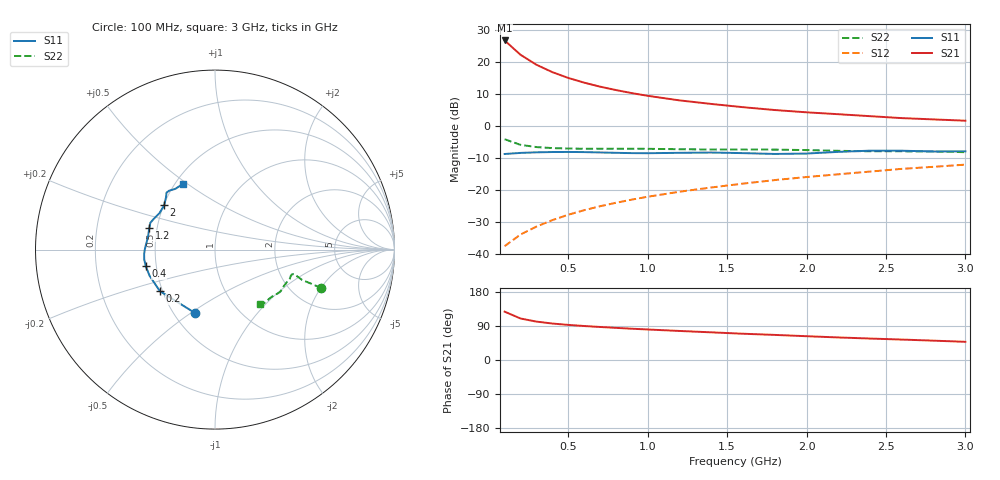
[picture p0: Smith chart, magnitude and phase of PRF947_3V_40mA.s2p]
! Filename:  PRF947i.S2P  Version:  3.0
! Philips part #:  PRF947  Date:  Nov 1998
! Bias condition:  Vce=3V, Ic=40mA
#  MHz  S  MA  R 50
! Freq  S11  S21  S12  S22  :
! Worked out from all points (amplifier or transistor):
!   20 points, 100 MHz to 3 GHz, reference 50 ohm
!   highest |S21| = 26.8 dB at 100 MHz (marker M1)
!   |S21| within 3 dB of that: start of sweep to 167.1 MHz
!   unconditionally stable (mu >= 1): 151.7 MHz to end of sweep
!   at 400 MHz: K = 1.32, MAG = 19.7 dB, |S12| = -29.3 dB
!   at 1.2 GHz: K = 1.38, MAG = 10.6 dB, |S12| = -20.4 dB
!   at 3 GHz: K = 1.22, MAG = 4.1 dB, |S12| = -12.0 dB
!   S11 on the Smith chart (normalised r, x): 100 MHz: 0.63, -0.51; 200 MHz: 0.48, -0.26; 400 MHz: 0.44, -0.10; 1.2 GHz: 0.45, +0.13; 2 GHz: 0.50, +0.29; 3 GHz: 0.55, +0.48
100  0.3696 -108.0  21.96 127.6  0.01342 63.6  0.6295 -19.8
200  0.3845 -143.0  13.13 109.5  0.02041 66.0  0.5137 -19.2
300  0.3924 -158.1  9.17 101.3  0.02712 70.0  0.4742 -17.8
400  0.3968 -166.5  7.035 96.3  0.03422 73.2  0.4573 -17.5
500  0.398 -172.1  5.708 92.6  0.04154 75.4  0.4497 -18.0
600  0.3957 -176.4  4.817 89.7  0.0489 77.0  0.4469 -18.8
700  0.3908 179.8  4.172 87.2  0.05639 78.2  0.4469 -19.7
800  0.3857 176.0  3.69 84.8  0.06388 79.0  0.4474 -20.6
900  0.3815 172.1  3.306 82.5  0.07162 79.8  0.4469 -21.4
1000  0.3803 168.3  2.999 80.5  0.07937 80.3  0.4454 -22.3
1200  0.3856 161.9  2.545 76.7  0.09506 80.8  0.439 -24.5
1400  0.3899 157.4  2.238 73.0  0.1108 80.9  0.4342 -27.6
1600  0.3814 153.2  1.992 69.3  0.1274 81.0  0.434 -30.7
1800  0.3702 146.7  1.798 66.2  0.1448 80.5  0.4327 -33.1
2000  0.3758 138.9  1.656 62.8  0.1614 80.4  0.4255 -35.2
2200  0.3991 133.2  1.547 59.5  0.1782 80.0  0.4144 -38.3
2400  0.4167 130.4  1.441 56.6  0.1965 79.2  0.4076 -42.2
2600  0.416 128.0  1.344 53.9  0.2164 78.2  0.407 -45.7
2800  0.4043 123.2  1.283 51.0  0.2333 77.9  0.4044 -48.2
3000  0.4069 116.1  1.225 48.0  0.2521 77.4  0.3947 -50.8
